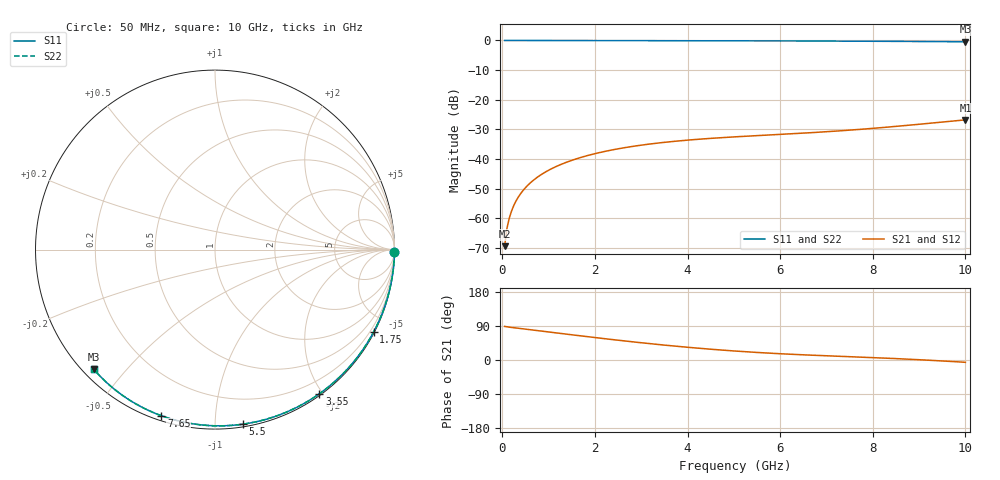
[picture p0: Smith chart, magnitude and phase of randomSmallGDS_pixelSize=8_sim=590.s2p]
! freq	dB(S11)	phase(S11)	dB(S12)	phase(S12)
!  dB(S21)	phase(S21)	dB(S22)	phase(S22)
!S-par simulation data
#  GHz  S  DB  R 50
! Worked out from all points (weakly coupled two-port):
!   200 points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, 50 MHz to 10 GHz, reference 50 ohm
!   highest |S21| = -26.79 dB at 10 GHz (marker M1); lowest = -69.4 dB at 50 MHz (marker M2)
!   lowest |S11| = -0.5 dB at 10 GHz (marker M3), VSWR 38.61, Z = 1.51 - j20.5 ohm
!   |S11| at or under -10 dB: nowhere
!   |S22| runs from -0.5 to 0.0 dB; largest |S21 - S12| = 0
!   S11 on the Smith chart (normalised r, x): 50 MHz: open; 1.75 GHz: 0.04, -4.11; 3.55 GHz: 0.02, -1.96; 5.5 GHz: 0.02, -1.17; 7.65 GHz: 0.02, -0.73; 10 GHz: 0.03, -0.41
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0.05  -0.00 -0.8  -69.42 88.6  -69.42 88.6  -0.00 -0.8
0.1  -0.00 -1.6  -63.46 87.6  -63.46 87.6  -0.00 -1.6
0.15  -0.00 -2.4  -60.00 86.7  -60.00 86.7  -0.00 -2.4
0.2  -0.00 -3.2  -57.54 85.9  -57.54 85.9  -0.00 -3.2
0.25  -0.00 -4.0  -55.64 85.2  -55.64 85.2  -0.00 -4.0
0.35  -0.00 -5.6  -52.75 83.8  -52.75 83.8  -0.00 -5.6
0.5  -0.01 -7.9  -49.70 81.6  -49.70 81.6  -0.01 -7.9
0.7  -0.01 -11.1  -46.82 78.6  -46.82 78.6  -0.01 -11.1
1  -0.02 -15.8  -43.80 74.1  -43.80 74.1  -0.02 -15.8
1.35  -0.03 -21.2  -41.31 68.8  -41.31 68.8  -0.03 -21.2
1.75  -0.03 -27.3  -39.24 62.9  -39.24 62.9  -0.03 -27.3
2.5  -0.05 -38.7  -36.57 52.2  -36.57 52.2  -0.05 -38.7
3.4  -0.07 -51.9  -34.55 40.5  -34.55 40.5  -0.07 -51.9
3.55  -0.07 -54.1  -34.30 38.7  -34.30 38.7  -0.07 -54.1
4.3  -0.09 -64.7  -33.27 30.4  -33.27 30.4  -0.09 -64.7
5.05  -0.12 -74.9  -32.50 23.5  -32.50 23.5  -0.12 -74.9
5.5  -0.13 -80.9  -32.11 19.9  -32.11 19.9  -0.13 -80.9
6.7  -0.18 -96.2  -31.09 12.6  -31.09 12.6  -0.19 -96.3
7.65  -0.24 -107.9  -30.09 8.0  -30.09 8.0  -0.24 -107.9
8.35  -0.29 -116.2  -29.20 4.5  -29.20 4.5  -0.29 -116.2
9.2  -0.37 -126.1  -27.99 -0.5  -27.99 -0.5  -0.37 -126.1
10  -0.45 -135.3  -26.79 -6.1  -26.79 -6.1  -0.45 -135.3
